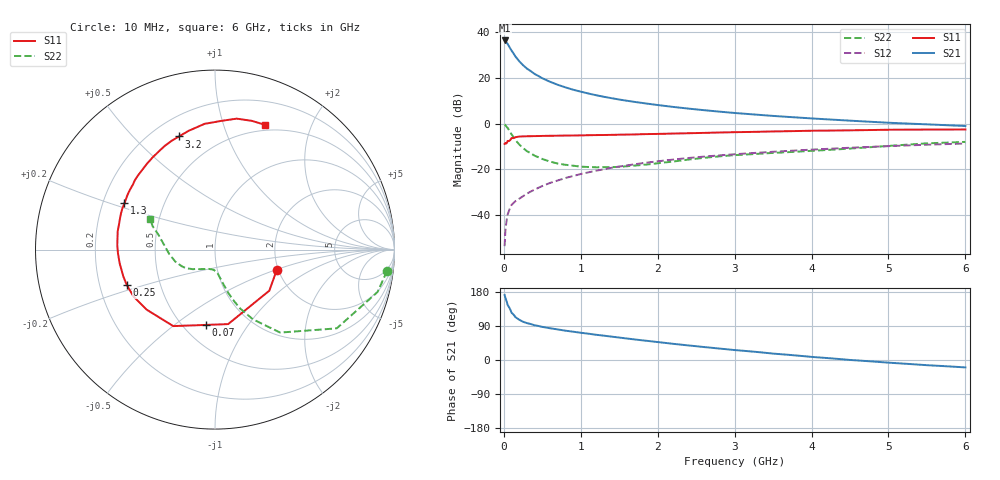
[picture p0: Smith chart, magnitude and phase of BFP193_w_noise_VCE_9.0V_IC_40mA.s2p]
! Infineon Technologies  Discrete & RF Semiconductors
! BFP193
! VCE =  9.0 V,  IC =  40 mA
! Common Emitter S-Parameters:  Jan 2017
# GHz  S  MA  R  50
!  f  S11  S21  S12  S22
! GHz  MAG  ANG  MAG  ANG  MAG  ANG  MAG  ANG
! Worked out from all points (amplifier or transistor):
!   77 points, 10 MHz to 6 GHz, reference 50 ohm
!   highest |S21| = 36.4 dB at 10 MHz (marker M1)
!   |S21| within 3 dB of that: start of sweep to 74.87 MHz
!   unconditionally stable (mu >= 1): 674.4 MHz to 2.426 GHz
!   at 130 MHz: K = 0.52, MSG = 32.5 dB, |S12| = -34.5 dB
!   at 2.2 GHz: K = 1.01, MAG = 10.9 dB, |S12| = -15.7 dB
!   at 6 GHz: K = 0.91, MSG = 3.8 dB, |S12| = -8.6 dB
!   lowest NFmin = 1.38 dB at 450 MHz
!   S11 on the Smith chart (normalised r, x): 10 MHz: 1.95, -0.52; 70 MHz: 0.64, -0.66; 250 MHz: 0.32, -0.17; 1.3 GHz: 0.29, +0.22; 3.2 GHz: 0.31, +0.69; 6 GHz: 0.44, +1.39
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0.01  0.3622 -18.7  66.27 171.5  0.0021 82.2  0.9657 -7.1
0.02  0.3795 -37.1  65.43 164.3  0.0045 86.2  0.9362 -14.6
0.05  0.4215 -80.0  55.32 145.1  0.0104 67.5  0.8078 -32.9
0.07  0.4224 -96.7  48.47 138.5  0.0129 63.4  0.711 -39.1
0.1  0.4854 -118.6  39.87 124.8  0.0167 59.5  0.5874 -51.9
0.15  0.5067 -138.6  29.62 113.3  0.0202 56.9  0.4414 -61.5
0.2  0.5236 -150.1  23.27 106.2  0.0229 57.7  0.3527 -67.2
0.25  0.5298 -158.1  19.05 100.9  0.026 58.6  0.2937 -70.4
0.3  0.5322 -163.7  16.07 97.4  0.0296 60.5  0.2517 -73.0
0.4  0.5366 -171.8  12.26 91.7  0.0362 63.5  0.2001 -76.2
0.5  0.5412 -178.0  9.872 87.4  0.0434 64.8  0.1696 -78.8
0.6  0.5452 177.2  8.285 83.8  0.0507 65.6  0.1489 -81.3
0.7  0.5471 173.3  7.115 80.7  0.0574 66.7  0.1346 -83.3
0.9  0.5528 165.7  5.551 74.7  0.0719 66.1  0.1209 -88.7
1.1  0.5609 159.2  4.577 69.4  0.0865 64.9  0.1131 -94.4
1.3  0.5668 152.9  3.885 64.2  0.1009 63.3  0.112 -101.3
2.1  0.6039 131.1  2.447 45.1  0.1577 54.9  0.1426 -130.6
3.1  0.6571 109.5  1.669 24.6  0.2207 42.9  0.2099 -154.9
3.2  0.6615 107.7  1.62 22.8  0.2264 41.8  0.2146 -157.0
4.1  0.7051 93.2  1.277 6.7  0.2766 31.6  0.2607 -176.7
5.1  0.7401 79.3  1.034 -8.3  0.3283 20.2  0.3358 163.8
6  0.749 68.0  0.892 -19.6  0.3695 10.2  0.4008 154.5
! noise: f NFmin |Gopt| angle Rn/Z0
0.45  1.38  0.38  -172  0.08
0.9  1.43  0.41  -167  0.08
1.9  2.05  0.59  -135  0.2
2.4  2.37  0.63  -120  0.42
